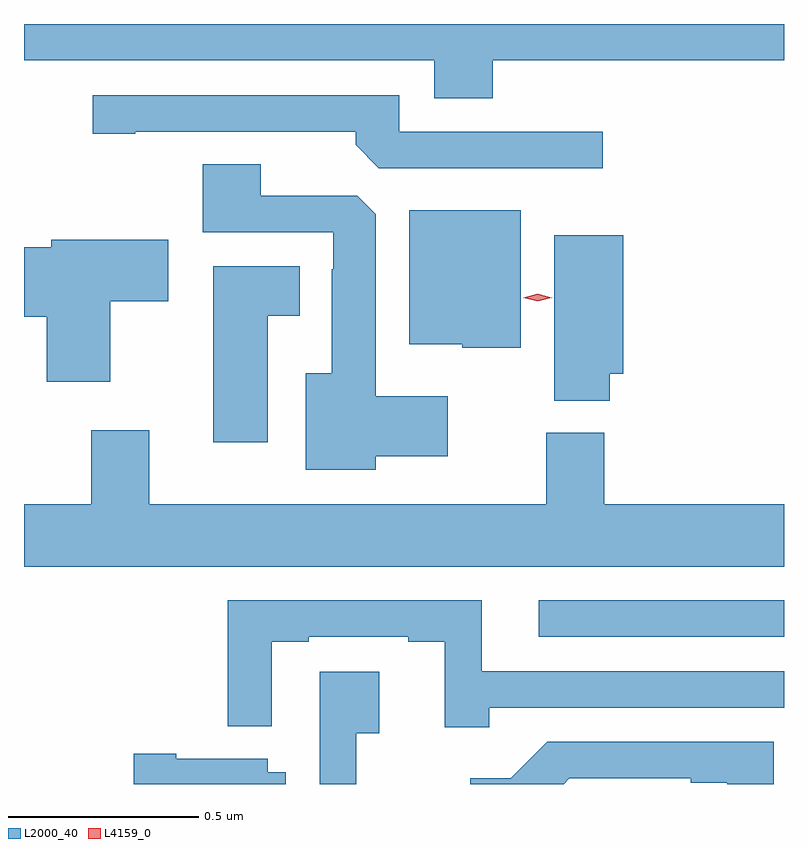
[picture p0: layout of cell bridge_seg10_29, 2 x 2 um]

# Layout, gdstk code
import gdstk
lib = gdstk.Library(unit=1e-6, precision=1e-09)
def R(c, l, rs):  # rectangles x0, y0, x1, y1
    for r in rs: c.add(gdstk.rectangle(r[:2], r[2:], *l))
def P(c, l, *ps):  # polygons
    for p in ps: c.add(gdstk.Polygon(p, *l))
L2000_40 = (2000, 40)
L4159_0 = (4159, 0)

bridge_seg10_29 = lib.new_cell('bridge_seg10_29')
R(bridge_seg10_29, L2000_40, [(954.519,1265.499,955.165,1265.595)])
P(bridge_seg10_29, L2000_40, [(954.398,1267.016),(955.165,1267.016),(955.165,1267.112),(953.165,1267.112),(953.165,1267.016),(954.245,1267.016),(954.245,1266.917),(954.398,1266.917)],
  [(954.688,1266.828),(954.153,1266.828),(954.153,1266.924),(953.346,1266.924),(953.346,1266.823),(953.458,1266.823),(953.458,1266.828),(954.038,1266.828),(954.038,1266.794),(954.099,1266.732),(954.688,1266.732)],
  [(954.091,1265.975),(954.28,1265.975),(954.28,1266.133),(954.091,1266.133),(954.091,1266.611),(954.042,1266.66),(953.788,1266.66),(953.788,1266.743),(953.636,1266.743),(953.636,1266.564),(953.979,1266.564),(953.979,1266.467),(953.975,1266.467),(953.975,1266.193),(953.906,1266.193),(953.906,1265.939),(954.091,1265.939)],
  [(954.472,1266.622),(954.179,1266.622),(954.179,1266.269),(954.318,1266.269),(954.318,1266.26),(954.472,1266.26)],
  [(954.707,1266.191),(954.742,1266.191),(954.742,1266.556),(954.56,1266.556),(954.56,1266.121),(954.707,1266.121)],
  [(953.392,1266.382),(953.545,1266.382),(953.545,1266.544),(953.237,1266.544),(953.237,1266.524),(953.165,1266.524),(953.165,1266.341),(953.225,1266.341),(953.225,1266.171),(953.392,1266.171)],
  [(953.806,1266.344),(953.89,1266.344),(953.89,1266.475),(953.663,1266.475),(953.663,1266.012),(953.806,1266.012)],
  [(955.165,1265.848),(954.692,1265.848),(954.692,1266.036),(954.539,1266.036),(954.539,1265.848),(953.494,1265.848),(953.494,1266.043),(953.342,1266.043),(953.342,1265.848),(953.165,1265.848),(953.165,1265.684),(955.165,1265.684)],
  [(954.389,1265.313),(955.165,1265.313),(955.165,1265.409),(954.37,1265.409),(954.37,1265.595),(953.701,1265.595),(953.701,1265.264),(953.817,1265.264),(953.817,1265.487),(953.914,1265.487),(953.914,1265.499),(954.176,1265.499),(954.176,1265.487),(954.272,1265.487),(954.272,1265.262),(954.389,1265.262)],
  [(954.039,1265.246),(954.1,1265.246),(954.1,1265.407),(953.943,1265.407),(953.943,1265.112),(954.039,1265.112)],
  [(954.6,1265.127),(954.92,1265.127),(954.92,1265.115),(955.016,1265.115),(955.016,1265.112),(955.138,1265.112),(955.138,1265.223),(954.542,1265.223),(954.446,1265.127),(954.339,1265.127),(954.339,1265.112),(954.585,1265.112)],
  [(953.854,1265.143),(953.806,1265.143),(953.806,1265.179),(953.566,1265.179),(953.566,1265.192),(953.454,1265.192),(953.454,1265.112),(953.854,1265.112)])
P(bridge_seg10_29, L4159_0, [(954.517,1266.382),(954.479,1266.392),(954.479,1266.392),(954.479,1266.392),(954.517,1266.402),(954.554,1266.392),(954.555,1266.391),(954.554,1266.391)])

lib.write_gds('bridge_seg10_29.gds')
